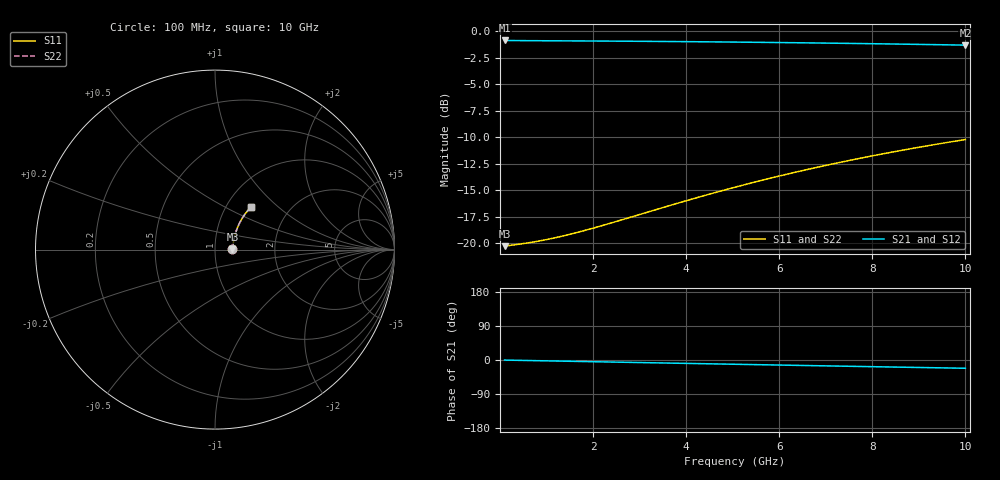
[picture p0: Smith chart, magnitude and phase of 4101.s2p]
# Hz S RI R 50.00
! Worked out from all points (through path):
!   100 points, 100 MHz to 10 GHz, reference 50 ohm
!   highest |S21| = -0.89 dB at 100 MHz (marker M1); lowest = -1.3 dB at 10 GHz (marker M2)
!   group delay of S21, straight-line fit = 6.07 ps
!   lowest |S11| = -20.3 dB at 100 MHz (marker M3), VSWR 1.22, Z = 60.7 + j0.334 ohm
!   |S11| at or under -10 dB: start of sweep to end of sweep
!   |S22| runs from -20.3 to -10.2 dB; largest |S21 - S12| = 0
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1e8  0.0971 0.00273  0.9029 -0.00356  0.9029 -0.00356  0.0971 0.00273
6e8  0.0993 0.0163  0.9007 -0.0213  0.9007 -0.0213  0.0993 0.0163
8e8  0.1 0.0217  0.9 -0.0283  0.9 -0.0283  0.1 0.0217
1e9  0.1007 0.027  0.8992 -0.0353  0.8992 -0.0353  0.1007 0.027
1.2e9  0.1015 0.0324  0.8984 -0.0424  0.8984 -0.0424  0.1015 0.0324
1.4e9  0.1023 0.0377  0.8976 -0.0494  0.8976 -0.0494  0.1023 0.0377
1.8e9  0.1041 0.0484  0.8958 -0.0634  0.8958 -0.0634  0.1041 0.0484
2.4e9  0.1073 0.0642  0.8925 -0.0842  0.8925 -0.0842  0.1073 0.0642
3.4e9  0.114 0.0901  0.8855 -0.1184  0.8855 -0.1184  0.114 0.0901
4.3e9  0.1216 0.1128  0.8777 -0.1486  0.8777 -0.1486  0.1216 0.1128
4.7e9  0.1254 0.1227  0.8737 -0.1618  0.8737 -0.1618  0.1254 0.1227
5.1e9  0.1295 0.1324  0.8695 -0.1748  0.8695 -0.1748  0.1295 0.1324
5.5e9  0.1339 0.1419  0.865 -0.1877  0.865 -0.1877  0.1339 0.1419
5.9e9  0.1385 0.1513  0.8602 -0.2004  0.8602 -0.2004  0.1385 0.1513
6.3e9  0.1434 0.1605  0.8551 -0.2129  0.8551 -0.2129  0.1434 0.1605
6.7e9  0.1486 0.1694  0.8497 -0.2253  0.8497 -0.2253  0.1486 0.1694
7.1e9  0.154 0.1782  0.8441 -0.2374  0.8441 -0.2374  0.154 0.1782
7.5e9  0.1596 0.1868  0.8383 -0.2493  0.8383 -0.2493  0.1596 0.1868
7.9e9  0.1655 0.1952  0.8322 -0.2611  0.8322 -0.2611  0.1655 0.1952
8.4e9  0.1731 0.2053  0.8243 -0.2754  0.8243 -0.2754  0.1731 0.2053
9.2e9  0.1859 0.2208  0.811 -0.2976  0.811 -0.2976  0.1859 0.2208
1e10  0.1994 0.2354  0.7969 -0.3189  0.7969 -0.3189  0.1994 0.2354
